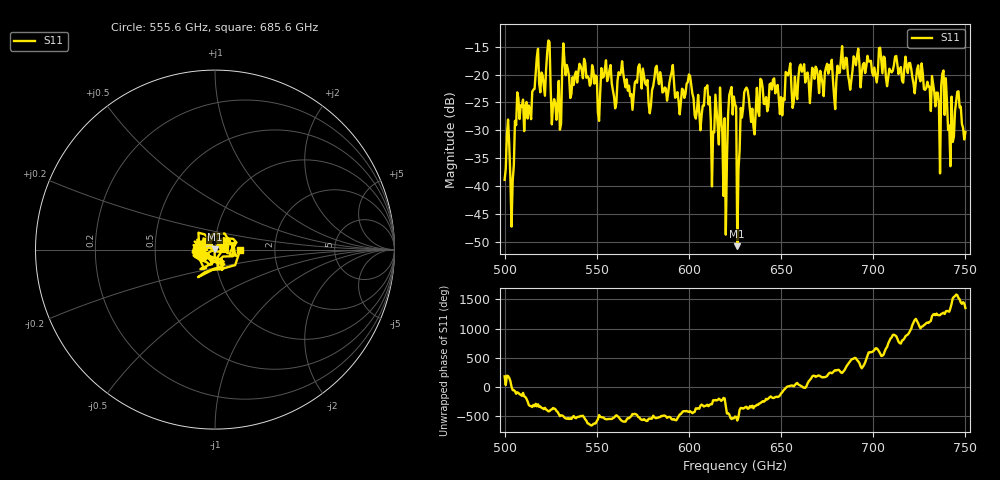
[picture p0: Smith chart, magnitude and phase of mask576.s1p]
!Created with skrf (http://scikit-rf.org).
# GHz S MA R 50.0
!freq magS11 angS11
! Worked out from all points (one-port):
!   401 points, 500 GHz to 750 GHz, reference 50 ohm
!   lowest |S11| = -50.8 dB at 626.2 GHz (marker M1), VSWR 1.01, Z = 49.8 + j0.177 ohm
!   |S11| at or under -10 dB: start of sweep to end of sweep
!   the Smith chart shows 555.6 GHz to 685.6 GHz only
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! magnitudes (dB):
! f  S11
! 500 GHz  -38.9
! 501.9 GHz  -28.1
! 503.8 GHz  -47.3
! 506.9 GHz  -23.2
! 513.8 GHz  -26.4
! 516.9 GHz  -19.7
! 523.8 GHz  -13.9
! 526.9 GHz  -24.4
! 531.2 GHz  -19.1
! 562.5 GHz  -20.1
! 593.8 GHz  -23.1
! 610 GHz  -21.9
! 612.5 GHz  -40.1
! 618.1 GHz  -30.4
! 619.4 GHz  -27.8
! 622.5 GHz  -22.9
! 625 GHz  -25.3
! 626.2 GHz  -50.8
! 631.2 GHz  -22.3
! 635 GHz  -29.3
! 656.2 GHz  -26.0
! 687.5 GHz  -22.7
! 718.8 GHz  -19.7
! 735 GHz  -23.2
! 738.1 GHz  -19.3
! 742.5 GHz  -24.0
! 746.2 GHz  -23.0
! 750 GHz  -30.3
